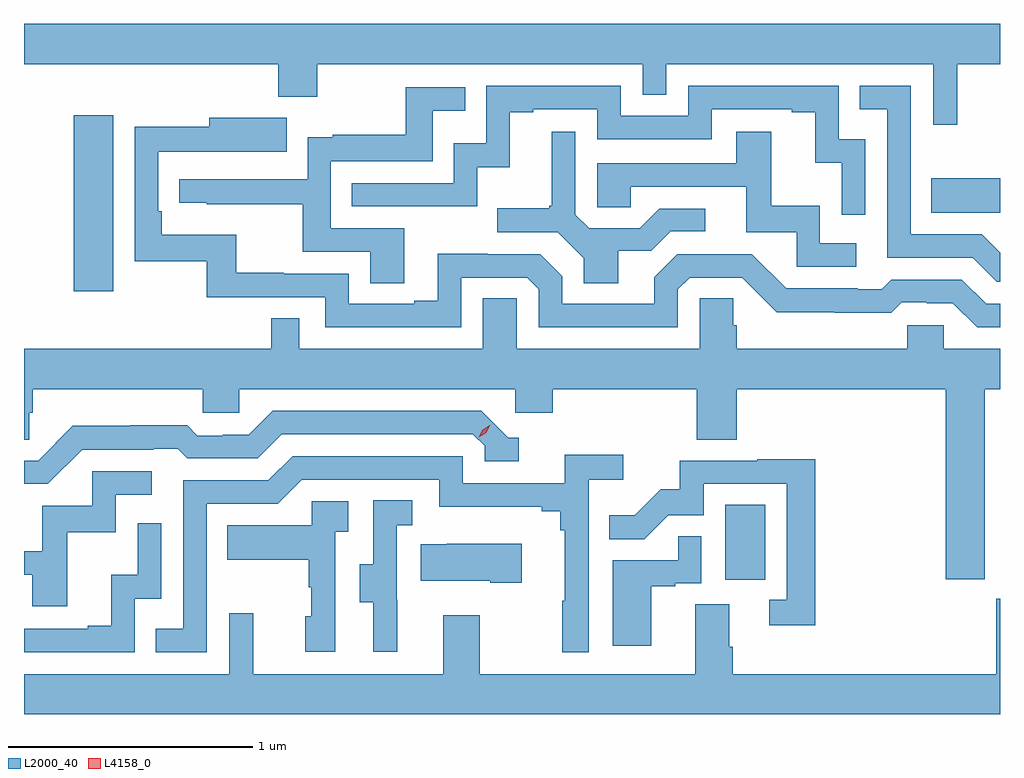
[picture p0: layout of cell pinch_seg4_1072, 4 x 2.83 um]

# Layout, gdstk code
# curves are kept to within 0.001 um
import gdstk
lib = gdstk.Library(unit=1e-6, precision=1e-09)
def R(c, l, rs):  # rectangles x0, y0, x1, y1
    for r in rs: c.add(gdstk.rectangle(r[:2], r[2:], *l))
def P(c, l, *ps):  # polygons
    for p in ps: c.add(gdstk.Polygon(p, *l))
L2000_40 = (2000, 40)
L4158_0 = (4158, 0)

pinch_seg4_1072 = lib.new_cell('pinch_seg4_1072')
R(pinch_seg4_1072, L2000_40, [(880.868,761.406,881.032,761.713), (878.198,762.588,878.359,763.309), (881.713,762.911,881.994,763.051)])
P(pinch_seg4_1072, L2000_40, [(881.819,763.52),(881.994,763.52),(881.994,763.684),(877.994,763.684),(877.994,763.52),(879.035,763.52),(879.035,763.385),(879.195,763.385),(879.195,763.52),(880.53,763.52),(880.53,763.393),(880.626,763.393),(880.626,763.52),(881.721,763.52),(881.721,763.272),(881.819,763.272)],
  [(881.442,763.212),(881.334,763.212),(881.334,763.431),(880.716,763.431),(880.716,763.308),(880.44,763.308),(880.44,763.431),(879.888,763.431),(879.888,763.195),(879.756,763.195),(879.756,763.032),(879.337,763.032),(879.337,762.936),(879.852,762.936),(879.852,763.097),(879.985,763.097),(879.985,763.323),(880.081,763.323),(880.081,763.335),(880.344,763.335),(880.344,763.212),(880.812,763.212),(880.812,763.335),(881.141,763.335),(881.141,763.323),(881.237,763.323),(881.237,763.115),(881.346,763.115),(881.346,762.903),(881.442,762.903)],
  [(881.994,762.747),(881.919,762.822),(881.628,762.822),(881.628,763.431),(881.419,763.431),(881.419,763.335),(881.532,763.335),(881.532,762.726),(881.882,762.726),(881.981,762.627),(881.994,762.627)],
  [(879.553,762.846),(879.252,762.846),(879.252,763.122),(879.669,763.122),(879.669,763.328),(879.803,763.328),(879.803,763.425),(879.558,763.425),(879.558,763.231),(879.259,763.231),(879.259,763.219),(879.156,763.219),(879.156,763.047),(878.631,763.047),(878.631,762.951),(878.743,762.951),(878.743,762.946),(879.136,762.946),(879.136,762.75),(879.413,762.75),(879.413,762.622),(879.553,762.622)],
  [(879.786,762.645),(880.056,762.645),(880.104,762.597),(880.104,762.441),(880.674,762.441),(880.674,762.597),(880.722,762.645),(880.938,762.645),(881.08,762.503),(881.316,762.503),(881.316,762.501),(881.549,762.501),(881.591,762.543),(881.694,762.543),(881.694,762.54),(881.801,762.54),(881.9,762.441),(881.994,762.441),(881.994,762.537),(881.937,762.537),(881.838,762.636),(881.549,762.636),(881.51,762.597),(881.411,762.597),(881.411,762.6),(881.118,762.6),(880.977,762.741),(880.671,762.741),(880.577,762.647),(880.577,762.537),(880.2,762.537),(880.2,762.651),(880.11,762.741),(879.894,762.741),(879.894,762.743),(879.689,762.743),(879.689,762.55),(879.593,762.55),(879.593,762.537),(879.324,762.537),(879.324,762.66),(879.059,762.66),(879.059,762.665),(878.863,762.665),(878.863,762.82),(878.558,762.82),(878.558,762.916),(878.544,762.916),(878.544,763.161),(879.071,763.16),(879.071,763.3),(878.753,763.3),(878.753,763.262),(878.448,763.262),(878.448,762.711),(878.742,762.711),(878.742,762.564),(879.228,762.564),(879.228,762.441),(879.786,762.441)],
  [(881.404,762.786),(881.256,762.786),(881.256,762.94),(881.057,762.94),(881.057,763.243),(880.913,763.243),(880.913,763.113),(880.344,763.113),(880.344,762.933),(880.481,762.933),(880.481,763.017),(880.955,763.017),(880.955,762.831),(881.16,762.831),(881.16,762.69),(881.404,762.69)],
  [(880.429,762.754),(880.564,762.754),(880.644,762.834),(880.786,762.834),(880.786,762.927),(880.598,762.927),(880.517,762.846),(880.311,762.846),(880.254,762.903),(880.254,763.243),(880.157,763.243),(880.157,762.94),(880.146,762.94),(880.146,762.928),(879.933,762.928),(879.933,762.831),(880.182,762.831),(880.289,762.724),(880.289,762.622),(880.429,762.622)],
  [(877.994,761.98),(878.015,761.98),(878.015,762.09),(878.03,762.09),(878.03,762.188),(878.727,762.188),(878.727,762.09),(878.877,762.09),(878.877,762.188),(880.008,762.188),(880.008,762.09),(880.16,762.09),(880.16,762.188),(880.751,762.188),(880.751,761.98),(880.916,761.98),(880.916,762.188),(881.771,762.188),(881.771,761.409),(881.931,761.409),(881.931,762.188),(881.994,762.188),(881.994,762.352),(881.763,762.352),(881.763,762.45),(881.613,762.45),(881.613,762.352),(880.916,762.352),(880.916,762.45),(880.901,762.45),(880.901,762.56),(880.764,762.56),(880.764,762.352),(880.014,762.352),(880.014,762.56),(879.875,762.56),(879.875,762.352),(879.123,762.352),(879.123,762.479),(879.007,762.479),(879.007,762.352),(877.994,762.352)],
  [(878.232,761.94),(878.525,761.94),(878.525,761.943),(878.624,761.943),(878.663,761.904),(878.952,761.904),(879.051,762.003),(879.834,762.003),(879.882,761.955),(879.882,761.892),(880.021,761.892),(880.021,761.988),(879.978,761.988),(879.867,762.099),(879.014,762.099),(878.915,762),(878.808,762),(878.808,761.997),(878.705,761.997),(878.663,762.04),(878.43,762.04),(878.43,762.037),(878.194,762.037),(878.052,761.895),(877.994,761.895),(877.994,761.799),(878.091,761.799)],
  [(878.742,761.718),(879.033,761.718),(879.132,761.817),(879.696,761.817),(879.696,761.705),(880.115,761.705),(880.115,761.686),(880.192,761.686),(880.192,761.609),(880.211,761.609),(880.211,761.321),(880.2,761.321),(880.2,761.109),(880.308,761.109),(880.308,761.816),(880.45,761.816),(880.45,761.918),(880.211,761.918),(880.211,761.802),(879.792,761.802),(879.792,761.913),(879.095,761.913),(878.996,761.814),(878.646,761.814),(878.646,761.205),(878.533,761.205),(878.533,761.109),(878.742,761.109)],
  [(881.237,761.9),(880.999,761.9),(880.999,761.895),(880.681,761.895),(880.681,761.778),(880.604,761.778),(880.497,761.671),(880.393,761.671),(880.393,761.572),(880.537,761.572),(880.635,761.67),(880.779,761.67),(880.779,761.799),(881.121,761.799),(881.121,761.325),(881.049,761.325),(881.049,761.22),(881.237,761.22)],
  [(878.171,761.601),(878.37,761.601),(878.37,761.754),(878.518,761.754),(878.518,761.85),(878.274,761.85),(878.274,761.709),(878.069,761.709),(878.069,761.523),(877.994,761.523),(877.994,761.427),(878.027,761.427),(878.027,761.298),(878.171,761.298)],
  [(879.524,761.325),(879.522,761.325),(879.522,761.629),(879.586,761.629),(879.586,761.732),(879.426,761.732),(879.426,761.469),(879.371,761.469),(879.371,761.314),(879.425,761.314),(879.425,761.112),(879.524,761.112)],
  [(879.27,761.603),(879.322,761.603),(879.322,761.727),(879.174,761.727),(879.174,761.629),(878.827,761.629),(878.827,761.489),(879.162,761.489),(879.162,761.375),(879.172,761.375),(879.172,761.256),(879.146,761.256),(879.146,761.112),(879.27,761.112)],
  [(878.448,761.328),(878.556,761.328),(878.556,761.638),(878.46,761.638),(878.46,761.426),(878.351,761.426),(878.351,761.218),(878.255,761.218),(878.255,761.205),(877.994,761.205),(877.994,761.109),(878.448,761.109)],
  [(880.564,761.379),(880.664,761.379),(880.664,761.391),(880.77,761.391),(880.77,761.585),(880.675,761.585),(880.675,761.487),(880.406,761.487),(880.406,761.136),(880.564,761.136)],
  [(880.033,761.554),(879.727,761.554),(879.727,761.551),(879.619,761.551),(879.619,761.402),(879.905,761.402),(879.905,761.395),(880.033,761.395)],
  [(880.745,761.306),(880.745,761.02),(879.861,761.02),(879.861,761.26),(879.713,761.26),(879.713,761.02),(878.933,761.02),(878.933,761.269),(878.835,761.269),(878.835,761.02),(877.994,761.02),(877.994,760.856),(881.994,760.856),(881.994,761.329),(881.978,761.329),(881.978,761.02),(880.898,761.02),(880.898,761.132),(880.885,761.132),(880.885,761.306)])
P(pinch_seg4_1072, L4158_0, [(879.857,761.99),(879.857,761.99),(879.874,762.022),(879.905,762.041),(879.905,762.041),(879.905,762.041),(879.888,762.009),(879.857,761.99)])

lib.write_gds('pinch_seg4_1072.gds')
